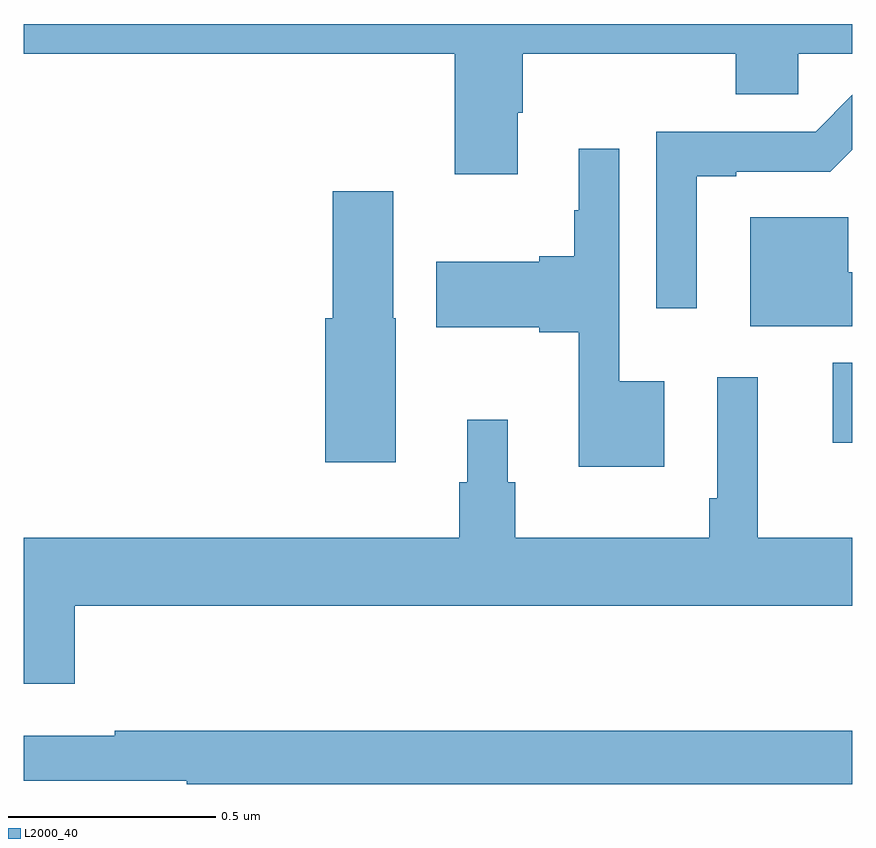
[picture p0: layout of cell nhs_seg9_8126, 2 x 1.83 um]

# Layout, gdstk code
import gdstk
lib = gdstk.Library(unit=1e-6, precision=1e-09)
def R(c, l, rs):  # rectangles x0, y0, x1, y1
    for r in rs: c.add(gdstk.rectangle(r[:2], r[2:], *l))
def P(c, l, *ps):  # polygons
    for p in ps: c.add(gdstk.Polygon(p, *l))
L2000_40 = (2000, 40)

nhs_seg9_8126 = lib.new_cell('nhs_seg9_8126')
R(nhs_seg9_8126, L2000_40, [(214.952,1187.49,215,1187.682)])
P(nhs_seg9_8126, L2000_40, [(213,1188.428),(214.04,1188.428),(214.04,1188.138),(214.192,1188.138),(214.192,1188.286),(214.205,1188.286),(214.205,1188.428),(214.718,1188.428),(214.718,1188.33),(214.869,1188.33),(214.869,1188.428),(215,1188.428),(215,1188.5),(213,1188.5)],
  [(214.624,1188.132),(214.72,1188.132),(214.72,1188.144),(214.947,1188.144),(215,1188.197),(215,1188.329),(214.911,1188.24),(214.527,1188.24),(214.527,1187.814),(214.624,1187.814)],
  [(214.546,1187.638),(214.437,1187.638),(214.437,1188.199),(214.34,1188.199),(214.34,1188.05),(214.329,1188.05),(214.329,1187.939),(214.244,1187.939),(214.244,1187.926),(213.996,1187.926),(213.996,1187.768),(214.244,1187.768),(214.244,1187.756),(214.34,1187.756),(214.34,1187.432),(214.546,1187.432)],
  [(213.898,1187.79),(213.892,1187.79),(213.892,1188.097),(213.746,1188.097),(213.746,1187.79),(213.728,1187.79),(213.728,1187.442),(213.898,1187.442)],
  [(215,1187.901),(214.99,1187.901),(214.99,1188.034),(214.754,1188.034),(214.754,1187.771),(215,1187.771)],
  [(213.124,1187.096),(215,1187.096),(215,1187.26),(214.772,1187.26),(214.772,1187.647),(214.674,1187.647),(214.674,1187.356),(214.654,1187.356),(214.654,1187.26),(214.187,1187.26),(214.187,1187.394),(214.168,1187.394),(214.168,1187.545),(214.07,1187.545),(214.07,1187.394),(214.051,1187.394),(214.051,1187.26),(213,1187.26),(213,1186.908),(213.124,1186.908)],
  [(215,1186.795),(213.22,1186.795),(213.22,1186.782),(213,1186.782),(213,1186.674),(213.394,1186.674),(213.394,1186.666),(215,1186.666)])

lib.write_gds('nhs_seg9_8126.gds')
